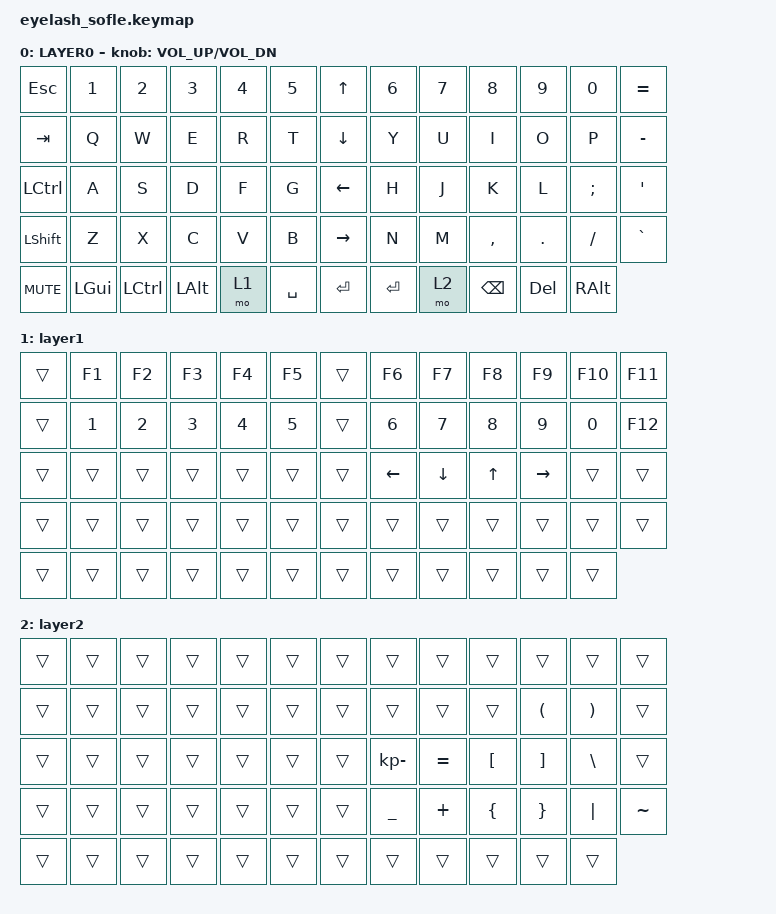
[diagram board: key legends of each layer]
#define ZMK_POINTING_DEFAULT_MOVE_VAL 1200  // 600
#define ZMK_POINTING_DEFAULT_SCRL_VAL 25   // 10

#include <input/processors.dtsi>
#include <zephyr/dt-bindings/input/input-event-codes.h>
#include <behaviors.dtsi>
#include <dt-bindings/zmk/keys.h>
#include <dt-bindings/zmk/pointing.h>

&mmv_input_listener { input-processors = <&zip_xy_scaler 2 1>; };

&msc_input_listener { input-processors = <&zip_scroll_scaler 2 1>; };

&msc {
    acceleration-exponent = <1>;      // 0
    time-to-max-speed-ms = <100>;       // 300
    delay-ms = <0>;                   // 0
};

&mmv {
    time-to-max-speed-ms = <500>;
    acceleration-exponent = <1>;
    trigger-period-ms = <16>;
};

&soft_off { hold-time-ms = <2000>; };

/ {
    scroll_encoder: scroll_encoder {
        compatible = "zmk,behavior-sensor-rotate";
        #sensor-binding-cells = <0>;
        bindings = <&msc SCRL_DOWN>, <&msc SCRL_UP>;

        tap-ms = <100>;
    };

    behaviors {
    };

    combos {
        compatible = "zmk,combos";

        softoff {
            bindings = <&soft_off>;
            key-positions = <14 28 40>;
        };

        a_umlaut {
            bindings = <&kp RA(Q)>;
            key-positions = <27 56 60>;
        };

        u_umlaut {
            bindings = <&kp RA(Y)>;
            key-positions = <21 56 60>;
        };

        o_umlaut {
            bindings = <&kp RA(P)>;
            key-positions = <23 56 60>;
        };
    };

    keymap {
        compatible = "zmk,keymap";

        layer0 {
            bindings = <
&kp ESCAPE        &kp N1        &kp N2     &kp N3        &kp N4  &kp N5       &kp UP_ARROW     &kp N6     &kp N7  &kp N8         &kp N9      &kp N0         &kp EQUAL
&kp TAB           &kp Q         &kp W      &kp E         &kp R   &kp T        &kp DOWN_ARROW   &kp Y      &kp U   &kp I          &kp O       &kp P          &kp MINUS
&kp LEFT_CONTROL  &kp A         &kp S      &kp D         &kp F   &kp G        &kp LEFT_ARROW   &kp H      &kp J   &kp K          &kp L       &kp SEMI       &kp SINGLE_QUOTE
&kp LSHFT         &kp Z         &kp X      &kp C         &kp V   &kp B        &kp RIGHT_ARROW  &kp N      &kp M   &kp COMMA      &kp DOT     &kp FSLH       &kp GRAVE
&kp C_MUTE        &kp LEFT_GUI  &kp LCTRL  &kp LEFT_ALT  &mo 1   &kp SPACE    &kp ENTER        &kp ENTER  &mo 2   &kp BACKSPACE  &kp DELETE  &kp RIGHT_ALT
            >;

            sensor-bindings = <&inc_dec_kp C_VOLUME_UP C_VOL_DN>;
            display-name = "LAYER0";
        };

        layer1 {
            bindings = <
&trans  &kp F1        &kp F2        &kp F3        &kp F4        &kp F5    &trans  &kp F6          &kp F7          &kp F8        &kp F9     &kp F10       &kp F11
&trans  &kp NUMBER_1  &kp NUMBER_2  &kp NUMBER_3  &kp NUMBER_4  &kp N5    &trans  &kp NUMBER_6    &kp N7          &kp N8        &kp N9     &kp NUMBER_0  &kp F12
&trans  &trans        &trans        &trans        &trans        &trans    &trans  &kp LEFT_ARROW  &kp DOWN_ARROW  &kp UP_ARROW  &kp RIGHT  &trans        &trans
&trans  &trans        &trans        &trans        &trans        &trans    &trans  &trans          &trans          &trans        &trans     &trans        &trans
&trans  &trans        &trans        &trans        &trans        &trans    &trans  &trans          &trans          &trans        &trans     &trans
            >;
        };

        layer2 {
            bindings = <
&trans  &trans  &trans  &trans  &trans  &trans    &trans  &trans        &trans     &trans            &trans                &trans                 &trans
&trans  &trans  &trans  &trans  &trans  &trans    &trans  &trans        &trans     &trans            &kp LEFT_PARENTHESIS  &kp RIGHT_PARENTHESIS  &trans
&trans  &trans  &trans  &trans  &trans  &trans    &trans  &kp KP_MINUS  &kp EQUAL  &kp LEFT_BRACKET  &kp RIGHT_BRACKET     &kp BACKSLASH          &trans
&trans  &trans  &trans  &trans  &trans  &trans    &trans  &kp UNDER     &kp PLUS   &kp LEFT_BRACE    &kp RIGHT_BRACE       &kp PIPE               &kp TILDE
&trans  &trans  &trans  &trans  &trans  &trans    &trans  &trans        &trans     &trans            &trans                &trans
            >;
        };
    };
};
